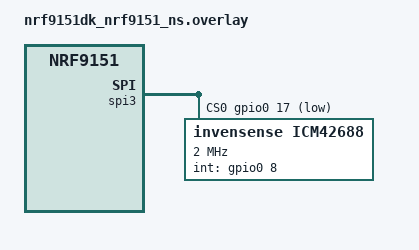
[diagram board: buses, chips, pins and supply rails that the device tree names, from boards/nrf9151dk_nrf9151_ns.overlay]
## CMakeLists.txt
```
#
# Copyright (c) 2019 TDK Invensense
#
# SPDX-License-Identifier: Apache-2.0
#

cmake_minimum_required(VERSION 3.20.0)
find_package(Zephyr REQUIRED HINTS $ENV{ZEPHYR_BASE})
project(dog_watch)

target_include_directories(app PRIVATE inc)
target_sources(app PRIVATE
    src/main.c
    src/sensor_helpers.c
)
target_sources_ifdef(CONFIG_APP_SENSOR_MODE_POLLING app PRIVATE
    src/sensor_data_collector.c
    src/sensor_data_consumer.c
)
```

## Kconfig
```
mainmenu "ICM42688 Sensor Data Retrieval"

choice APP_SENSOR_MODE
	prompt "Sensor Data Retrieval Mode"
    default APP_SENSOR_MODE_POLLING
	help
		This configures the data retrieval mode for this codebase.

config APP_SENSOR_MODE_INTERRUPT
 	bool "Interrupt driven using data-ready trigger"
    select ICM42688_TRIGGER

config APP_SENSOR_MODE_POLLING
	bool "Use threaded retrieval with polling"

endchoice

config APP_POLLING_INTERVAL_MS
    int "Polling interval in milliseconds"
    depends on APP_SENSOR_MODE_POLLING
    default 100
    range 10 5000
    help
      Specify the polling interval in milliseconds for sensor data reading.
      
      Recommended values:
      - 10ms (100Hz): High frequency applications
      - 50ms (20Hz): Motion tracking
      - 100ms (10Hz): General purpose (default)
      - 1000ms (1Hz): Low power applications
      
      Valid range: 10-5000 ms

source "Kconfig.zephyr"
```

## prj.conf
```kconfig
# module configs
CONFIG_SPI=y
CONFIG_SENSOR=y

# support for floats
CONFIG_CBPRINTF_FP_SUPPORT=y

# logging configs
CONFIG_LOG=y
CONFIG_SENSOR_LOG_LEVEL_DBG=y

# when no configured, get errors for an spi log not being found, unsure how to fix
CONFIG_SPI_LOG_LEVEL_OFF=y

# Polling driven
CONFIG_APP_SENSOR_MODE_POLLING=y

# # Interrupt driven
# CONFIG_APP_SENSOR_MODE_INTERRUPT=y

# for rtio/streaming
# CONFIG_SPI_RTIO=y
# CONFIG_SENSOR_ASYNC_API=y


# for debug, potentially some issues when below options are not set
# CONFIG_TFM_SECURE_UART=n
# CONFIG_TFM_LOG_LEVEL_SILENCE=y
```

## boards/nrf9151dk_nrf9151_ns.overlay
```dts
#include <zephyr/dt-bindings/sensor/icm42688.h>

// &i2c0 {	status = "disabled";};
// &spi0 {	status = "disabled";};
// &i2c1 {	status = "disabled";};
// &uart1 { status = "disabled";};

&spi3 {
    compatible = "nordic,nrf-spim";
	status = "okay";
	pinctrl-0 = <&spi3_default>;
	pinctrl-1 = <&spi3_sleep>;
	pinctrl-names = "default", "sleep";
	cs-gpios = <&gpio0 17 GPIO_ACTIVE_LOW>;
	icm42688: icm42688@0 {
		status = "okay";
		compatible = "invensense,icm42688";
		reg = <0>;
		spi-max-frequency = <2000000>;
		int-gpios = <&gpio0 8 (GPIO_ACTIVE_HIGH | GPIO_PULL_DOWN)>;
		accel-pwr-mode = <ICM42688_DT_ACCEL_LN>;
        accel-fs = <ICM42688_DT_ACCEL_FS_16>;
        accel-odr = <ICM42688_DT_ACCEL_ODR_50>;
        gyro-pwr-mode= <ICM42688_DT_GYRO_LN>;
        gyro-fs = <ICM42688_DT_GYRO_FS_2000>;
        gyro-odr = <ICM42688_DT_GYRO_ODR_50>;
	};
};
```

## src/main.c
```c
#include <zephyr/kernel.h>
#include <zephyr/device.h>
#include <zephyr/devicetree.h>
#include <zephyr/drivers/sensor.h>
#include <zephyr/drivers/sensor_data_types.h>

#include "sensor_helpers.h"
#include "sensor_data_collector.h"

#ifdef CONFIG_APP_SENSOR_MODE_INTERRUPT
static struct sensor_trigger data_trigger;

static void handle_icm42688_drdy(const struct device *dev,
				 const struct sensor_trigger *trig)
{
	printk("interrupt triggered");
	sensorsreadings value;

	int ret = icm42688_fetch_and_get_all(dev, &value);
	if (ret != 0) {
		printk("failed to fetch and get sensor data: %d\n", ret);
		return;
	}
	
	icm42688_log_readings(&value);
}
#endif

int main(void)
{
	#ifdef CONFIG_APP_SENSOR_MODE_INTERRUPT
	const struct device *const dev_icm42688 = get_icm42688_sensor();

	if (dev_icm42688 == NULL) {
        return 0;
    }

	data_trigger = (struct sensor_trigger) {
		.type = SENSOR_TRIG_DATA_READY,
		.chan = SENSOR_CHAN_ALL,
	};

	int res = sensor_trigger_set(dev_icm42688, &data_trigger, handle_icm42688_drdy);
	if (res < 0) {
		printk("Cannot configure data trigger!!!\n");
		return 0;
	}

	printk("Configured for triggered sampling.\n");

	#else

	while (1) {
		k_sleep(K_FOREVER);
	}

	#endif

	return 0;
}
```

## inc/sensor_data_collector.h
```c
#ifndef SENSOR_DATA_H
#define SENSOR_DATA_H

#include <zephyr/drivers/sensor.h>

struct k_msgq *get_sensor_readings_queue(void);

typedef struct sensorsreadings {
    struct sensor_value temp;
    struct sensor_value gyro[3];
    struct sensor_value accel[3];
} sensorsreadings;

#endif /* SENSOR_DATA_H */
```

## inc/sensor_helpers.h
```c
#ifndef SENSOR_HELPERS_H
#define SENSOR_HELPERS_H

#include <zephyr/device.h>
#include <zephyr/drivers/sensor.h>

#include "sensor_data_collector.h"

const struct device *get_icm42688_sensor(void);

int icm42688_fetch_and_get_all(const struct device *dev, sensorsreadings *readings);

void icm42688_log_readings(const struct sensorsreadings *readings);

#endif /* SENSOR_HELPERS_H */
```

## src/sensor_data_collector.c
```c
#include <zephyr/kernel.h>
#include <zephyr/device.h>
#include <zephyr/devicetree.h>
#include <zephyr/drivers/sensor.h>

#include "sensor_data_collector.h"
#include "sensor_helpers.h"

#define SENSOR_THREAD_PRIORITY	7
#define SENSOR_THREAD_STACKSIZE 1024

K_MSGQ_DEFINE(sensor_readings_queue, sizeof(sensorsreadings), 16, 4);

int sensor_data_collector(void)
{
    const struct device *dev_icm42688 = get_icm42688_sensor();

    if (dev_icm42688 == NULL) {
        return 0;
    }

    while (1) {
        sensorsreadings value;

        int ret = icm42688_fetch_and_get_all(dev_icm42688, &value);
        if (ret != 0) {
            printk("failed to fetch and get sensor data: %d\n", ret);
            k_msleep(50);
            continue;
        }

        ret = k_msgq_put(&sensor_readings_queue, &value, K_NO_WAIT);
        if (ret) {
			printk("Return value from k_msgq_put = %d\n", ret);
		}						   
		k_msleep(50);
    }
}

struct k_msgq *get_sensor_readings_queue(void)
{
	return &sensor_readings_queue;
}

K_THREAD_DEFINE(sensor_data_collector_id, SENSOR_THREAD_STACKSIZE, sensor_data_collector, NULL,
		NULL, NULL, SENSOR_THREAD_PRIORITY, 0, 1000);
```

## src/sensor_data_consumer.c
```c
#include <zephyr/kernel.h>

#include "sensor_data_collector.h"
#include "sensor_helpers.h"

#define STORAGE_THREAD_STACKSIZE 1024
#define STORAGE_THREAD_PRIORITY	 7

static void sensor_data_consumer(void)
{
	struct k_msgq *sensor_queue;
	sensorsreadings value;

	sensor_queue = get_sensor_readings_queue();
	if (sensor_queue == NULL) {
		printkk("Error getting samples queue\n");
	}
	while (1) {

		int ret = k_msgq_get(sensor_queue, &value, K_FOREVER);
		if (ret) {
			printk("Return value from k_msgq_get = %d\n", ret);
		}
		
        icm42688_log_readings(&value);
	}
}

K_THREAD_DEFINE(sensor_data_consumer_id, STORAGE_THREAD_STACKSIZE, sensor_data_consumer, NULL, NULL,
		NULL, STORAGE_THREAD_PRIORITY, 0, 2000);
```

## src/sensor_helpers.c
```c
#include <zephyr/kernel.h>
#include <zephyr/device.h>
#include <zephyr/devicetree.h>
#include <zephyr/drivers/sensor.h>
#include <zephyr/logging/log.h>

#include "sensor_data_collector.h"

LOG_MODULE_REGISTER(SENSOR_DATA, CONFIG_SENSOR_LOG_LEVEL);

const struct device *get_icm42688_sensor(void)
{
	const struct device *const dev = DEVICE_DT_GET_ONE(invensense_icm42688);

	if (dev == NULL) {
		/* No such node, or the node does not have status "okay". */
		printk("\nError: icm42688 device not found.\n");
		return NULL;
	}

	if (!device_is_ready(dev)) {
		printk("\nError: Device \"%s\" is not ready; "
		       "check the driver initialization logs for errors.\n",
		       dev->name);
		return NULL;
	}

	printk("Found device \"%s\", getting sensor data\n", dev->name);
	return dev;
}

static const char *now_str(void)
{
	static char buf[16]; /* ...HH:MM:SS.MMM */
	uint32_t now = k_uptime_get_32();
	unsigned int ms = now % MSEC_PER_SEC;
	unsigned int s;
	unsigned int min;
	unsigned int h;

	now /= MSEC_PER_SEC;
	s = now % 60U;
	now /= 60U;
	min = now % 60U;
	now /= 60U;
	h = now;

	snprintf(buf, sizeof(buf), "%u:%02u:%02u.%03u",
		 h, min, s, ms);
	return buf;
}

void icm42688_log_readings(const struct sensorsreadings *readings)
{
    LOG_INF("[%s]:%.3f Cel | accel %.3f %.3f %.3f m/s/s | gyro %.3f %.3f %.3f rad/s\n",
        now_str(),
        sensor_value_to_double(&readings->temp),
        sensor_value_to_double(&readings->accel[0]),
        sensor_value_to_double(&readings->accel[1]),
        sensor_value_to_double(&readings->accel[2]),
        sensor_value_to_double(&readings->gyro[0]),
        sensor_value_to_double(&readings->gyro[1]),
        sensor_value_to_double(&readings->gyro[2]));
}

int icm42688_fetch_and_get_all(const struct device *dev, sensorsreadings *readings)
{
    int rc = sensor_sample_fetch(dev);
        
    if (rc == 0) {
        rc = sensor_channel_get(dev, SENSOR_CHAN_ACCEL_XYZ, readings->accel);
    }
    if (rc == 0) {
        rc = sensor_channel_get(dev, SENSOR_CHAN_GYRO_XYZ, readings->gyro);
    }
    if (rc == 0) {
        rc = sensor_channel_get(dev, SENSOR_CHAN_DIE_TEMP, &readings->temp);
    }

    return rc;
}
```
